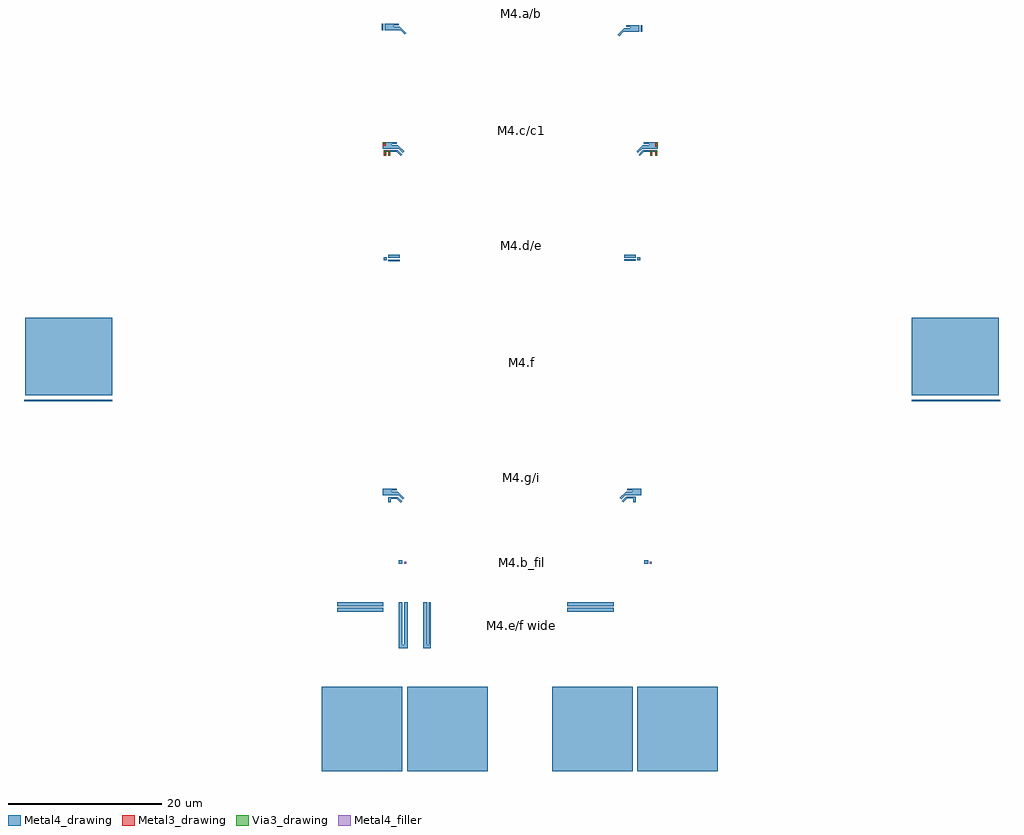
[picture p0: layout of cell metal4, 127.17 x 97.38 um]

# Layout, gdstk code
import gdstk
lib = gdstk.Library(unit=1e-6, precision=1e-09)
def R(c, l, rs):  # rectangles x0, y0, x1, y1
    for r in rs: c.add(gdstk.rectangle(r[:2], r[2:], *l))
def P(c, l, *ps):  # polygons
    for p in ps: c.add(gdstk.Polygon(p, *l))
Metal3_drawing = (30, 0)
Via3_drawing = (49, 0)
Metal4_drawing = (50, 0)
Metal4_filler = (50, 22)

metal4 = lib.new_cell('metal4')
R(metal4, Metal3_drawing, [(-17.91,-25.565,-17.64,-24.865), (-17.345,-25.565,-17.075,-24.865), (16.805,-25.56,17.075,-24.865), (17.435,-25.56,17.705,-24.865), (17.42,-24.405,17.775,-23.775), (-18.045,-24.275,-17.69,-23.785)])
R(metal4, Via3_drawing, [(-17.905,-25.515,-17.715,-25.325), (-17.305,-25.515,-17.115,-25.325), (16.845,-25.515,17.035,-25.325), (17.51,-25.515,17.7,-25.325), (-17.87,-25.105,-17.68,-24.915), (-17.305,-25.105,-17.115,-24.915), (16.845,-25.105,17.035,-24.915), (17.475,-25.06,17.665,-24.87), (17.535,-24.385,17.725,-24.195), (-17.995,-23.985,-17.805,-23.795), (17.535,-23.975,17.725,-23.785)])
R(metal4, Metal4_drawing, [(-26,-105.75,-15.5,-94.75), (-14.9,-105.75,-4.4,-94.75), (4,-105.75,14.5,-94.75), (15.09,-105.75,25.59,-94.75), (-24,-84.97,-18,-84.48), (6,-84.96,12,-84.47), (-24,-84.24,-18,-83.75), (6,-84.24,12,-83.75), (-16,-78.75,-15.5,-78.25), (16,-78.75,16.5,-78.25), (-64.815,-57.58,-53.32,-57.38), (50.86,-57.55,62.355,-57.35), (-64.63,-56.78,-53.32,-46.68), (50.86,-56.78,62.17,-46.68), (-17.35,-39.285,-15.85,-39.085), (13.39,-39.265,14.89,-39.065), (-17.94,-39.155,-17.56,-38.775), (15.1,-39.155,15.46,-38.795), (-17.35,-38.845,-15.85,-38.455), (13.39,-38.845,14.89,-38.43), (15.535,-9.425,15.725,-8.585), (-18.205,-9.21,-18.005,-8.37)])
P(metal4, Metal4_drawing, [(-16,-89.75),(-16,-83.75),(-15.51,-83.75),(-15.51,-89.26),(-15.28,-89.26),(-15.28,-83.75),(-14.79,-83.75),(-14.79,-89.75)],
  [(-12.79,-89.75),(-12.79,-83.75),(-12.3,-83.75),(-12.3,-89.26),(-12.07,-89.26),(-12.07,-83.75),(-11.82,-83.75),(-11.82,-89.75)],
  [(15.185,-25.165),(15.015,-24.995),(15.815,-24.195),(16.635,-24.195),(16.635,-23.985),(15.965,-23.985),(15.965,-23.785),(17.775,-23.785),(17.775,-24.625),(15.725,-24.625)],
  [(-15.715,-25.585),(-16.235,-25.065),(-17.075,-25.065),(-17.075,-25.565),(-17.345,-25.565),(-17.345,-24.865),(-16.095,-24.865),(-15.545,-25.415)],
  [(-15.715,-70.75),(-16.235,-70.23),(-17.055,-70.23),(-17.055,-70.72),(-17.355,-70.72),(-17.355,-70.03),(-16.095,-70.03),(-15.545,-70.58)],
  [(-15.455,-25.165),(-15.995,-24.625),(-18.045,-24.625),(-18.045,-23.785),(-16.235,-23.785),(-16.235,-23.985),(-16.905,-23.985),(-16.905,-24.195),(-16.085,-24.195),(-15.285,-24.995)],
  [(-15.455,-70.33),(-15.995,-69.79),(-18.045,-69.79),(-18.045,-68.95),(-16.235,-68.95),(-16.235,-69.15),(-16.905,-69.15),(-16.905,-69.36),(-16.085,-69.36),(-15.285,-70.16)],
  [(-15.205,-9.75),(-15.745,-9.21),(-17.795,-9.21),(-17.795,-8.37),(-15.985,-8.37),(-15.985,-8.57),(-16.655,-8.57),(-16.655,-8.78),(-15.835,-8.78),(-15.035,-9.58)],
  [(13.245,-70.73),(13.075,-70.56),(13.625,-70.01),(14.885,-70.01),(14.885,-70.7),(14.585,-70.7),(14.585,-70.21),(13.765,-70.21)],
  [(12.745,-9.965),(12.575,-9.795),(13.395,-8.975),(14.195,-8.975),(14.195,-8.775),(13.675,-8.775),(13.675,-8.585),(15.335,-8.585),(15.335,-9.425),(13.285,-9.425)],
  [(12.995,-70.31),(12.83,-70.145),(13.635,-69.34),(14.445,-69.34),(14.445,-69.13),(13.775,-69.13),(13.775,-68.93),(15.585,-68.93),(15.585,-69.77),(13.535,-69.77)],
  [(15.445,-25.585),(15.275,-25.415),(15.825,-24.865),(17.075,-24.865),(17.075,-25.56),(16.805,-25.56),(16.805,-25.065),(15.965,-25.065)],
  [(17.435,-25.56),(17.435,-25.065),(16.78,-25.065),(16.78,-24.865),(17.705,-24.865),(17.705,-25.56)],
  [(-17.91,-25.565),(-17.91,-24.865),(-17.005,-24.865),(-17.005,-25.065),(-17.64,-25.065),(-17.64,-25.565)])
R(metal4, Metal4_filler, [(-15.28,-78.75,-14.98,-78.45), (16.69,-78.75,16.99,-78.45)])
metal4.add(gdstk.Label('M4.e/f wide', (0,-86.75), layer=63, texttype=0))
metal4.add(gdstk.Label('M4.a/b', (0,-7.005), layer=63, texttype=0))
metal4.add(gdstk.Label('M4.c/c1', (0,-22.28), layer=63, texttype=0))
metal4.add(gdstk.Label('M4.d/e', (0,-37.21), layer=63, texttype=0))
metal4.add(gdstk.Label('M4.f', (0,-52.53), layer=63, texttype=0))
metal4.add(gdstk.Label('M4.g/i', (0,-67.535), layer=63, texttype=0))
metal4.add(gdstk.Label('PASS', (-12,5), layer=63, texttype=0))
metal4.add(gdstk.Label('FAIL', (12,5), layer=63, texttype=0))
metal4.add(gdstk.Label('5.17 Metaln', (0,21), layer=63, texttype=0))
metal4.add(gdstk.Label('M4.b_fil', (0,-78.5), layer=63, texttype=0))

lib.write_gds('metal4.gds')
